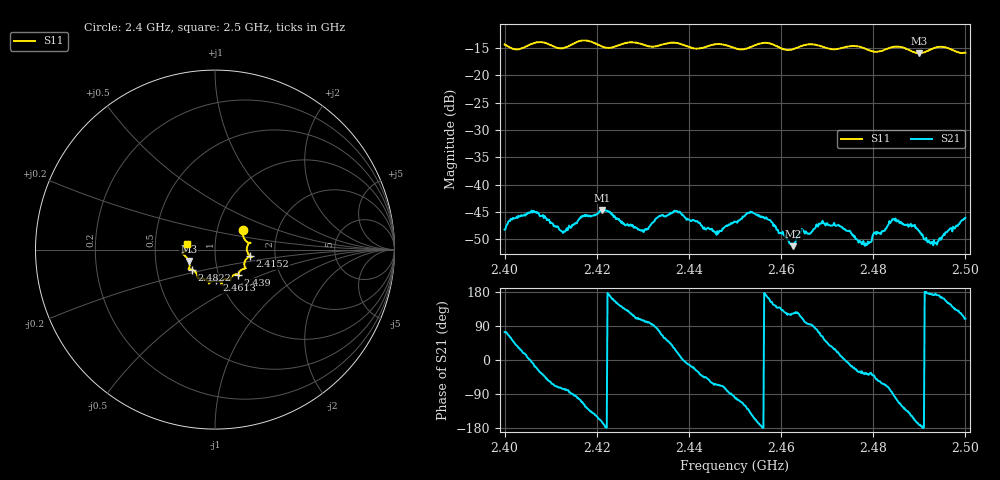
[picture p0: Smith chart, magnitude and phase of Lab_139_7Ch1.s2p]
# Hz S RI R 50
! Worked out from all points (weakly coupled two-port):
!   601 points, 2.4 GHz to 2.5 GHz, reference 50 ohm
!   highest |S21| = -44.63 dB at 2.4212 GHz (marker M1); lowest = -51.3 dB at 2.4627 GHz (marker M2)
!   lowest |S11| = -15.9 dB at 2.49 GHz (marker M3), VSWR 1.38, Z = 37 - j4.85 ohm
!   |S11| at or under -10 dB: start of sweep to end of sweep
!   S12 and S22 are empty: the file has one direction only
!   S11 on the Smith chart (normalised r, x): 2.4 GHz: 1.33, +0.31; 2.4152 GHz: 1.48, -0.11; 2.439 GHz: 1.24, -0.36; 2.4613 GHz: 0.96, -0.34; 2.4822 GHz: 0.76, -0.17; 2.5 GHz: 0.72, +0.05
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2.4e9  0.1565 0.1114  0.0011 0.0037  0 0  0 0
2.406167e9  0.1934 0.0366  0.00563 -0.000862  0 0  0 0
2.4125e9  0.1774 -0.00187  0.000931 -0.00359  0 0  0 0
2.415167e9  0.1946 -0.0361  -0.000313 -0.00439  0 0  0 0
2.416667e9  0.2042 -0.0421  -0.00176 -0.00467  0 0  0 0
2.421167e9  0.1771 -0.0499  -0.00566 -0.00155  0 0  0 0
2.429667e9  0.1622 -0.1067  -0.00104 0.00364  0 0  0 0
2.433333e9  0.1328 -0.132  0.000987 0.00496  0 0  0 0
2.439e9  0.1287 -0.1388  0.0051 -0.000213  0 0  0 0
2.446e9  0.0855 -0.1739  0.00145 -0.00315  0 0  0 0
2.45e9  0.0688 -0.1639  -0.00079 -0.00447  0 0  0 0
2.453833e9  0.0354 -0.1822  -0.00468 -0.00296  0 0  0 0
2.461333e9  0.00755 -0.171  -0.00157 0.00278  0 0  0 0
2.462667e9  -0.012 -0.1741  -0.00147 0.00229  0 0  0 0
2.466667e9  -0.0336 -0.1901  -0.000121 0.00371  0 0  0 0
2.472e9  -0.0657 -0.1614  0.00384 0.0017  0 0  0 0
2.4785e9  -0.0986 -0.1435  0.0023 -0.00157  0 0  0 0
2.482167e9  -0.1281 -0.1117  0.00172 -0.00331  0 0  0 0
2.483333e9  -0.1392 -0.1103  0.00123 -0.00412  0 0  0 0
2.49e9  -0.1464 -0.0639  -0.00371 -0.000551  0 0  0 0
2.4935e9  -0.1784 -0.0256  -0.00289 0.000241  0 0  0 0
2.5e9  -0.1586 0.033  -0.00163 0.00468  0 0  0 0
